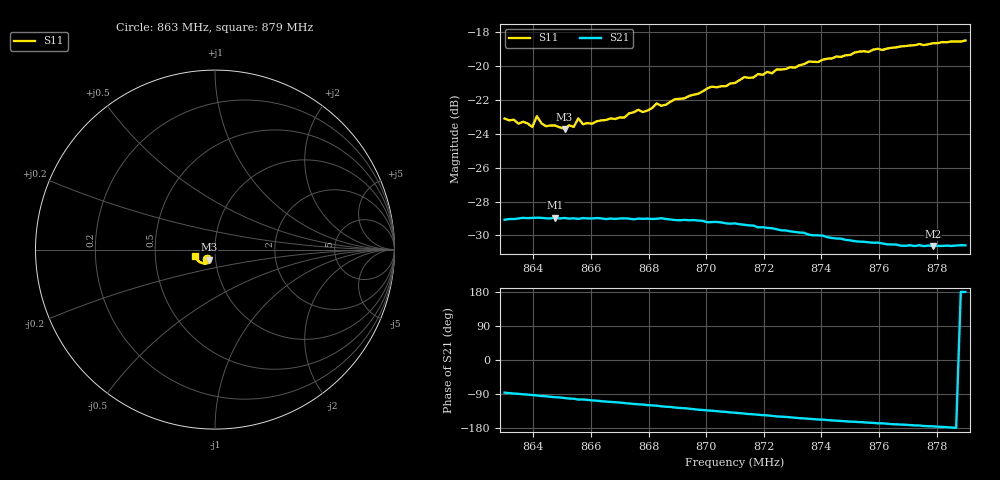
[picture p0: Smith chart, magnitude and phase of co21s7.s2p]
# HZ S RI R 50
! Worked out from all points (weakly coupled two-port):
!   101 points, 863 MHz to 879 MHz, reference 50 ohm
!   highest |S21| = -28.95 dB at 864.76 MHz (marker M1); lowest = -30.6 dB at 877.88 MHz (marker M2)
!   lowest |S11| = -23.7 dB at 865.08 MHz (marker M3), VSWR 1.14, Z = 46.4 - j5.18 ohm
!   |S11| at or under -10 dB: start of sweep to end of sweep
!   S12 and S22 are empty: the file has one direction only
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8.63e8  -0.0438 -0.0546  0.00241 -0.0351  0 0  0 0
8.6396e8  -0.0381 -0.054  -0.00155 -0.0356  0 0  0 0
8.6412e8  -0.0453 -0.0548  -0.00223 -0.0356  0 0  0 0
8.6444e8  -0.0371 -0.0551  -0.00355 -0.0353  0 0  0 0
8.6476e8  -0.0379 -0.0549  -0.00516 -0.0353  0 0  0 0
8.6508e8  -0.0342 -0.0555  -0.0064 -0.035  0 0  0 0
8.6524e8  -0.0357 -0.0565  -0.00721 -0.0347  0 0  0 0
8.654e8  -0.0336 -0.057  -0.0075 -0.0347  0 0  0 0
8.6556e8  -0.0393 -0.058  -0.00876 -0.0343  0 0  0 0
8.6572e8  -0.0343 -0.058  -0.00878 -0.0345  0 0  0 0
8.6716e8  -0.0336 -0.062  -0.0143 -0.0325  0 0  0 0
8.6764e8  -0.0351 -0.0654  -0.016 -0.0316  0 0  0 0
8.6796e8  -0.0348 -0.0651  -0.0172 -0.031  0 0  0 0
8.6828e8  -0.037 -0.0682  -0.018 -0.0305  0 0  0 0
8.6844e8  -0.0356 -0.0675  -0.0189 -0.0301  0 0  0 0
8.702e8  -0.0444 -0.0748  -0.024 -0.0249  0 0  0 0
8.71e8  -0.0484 -0.0749  -0.026 -0.0224  0 0  0 0
8.7132e8  -0.0516 -0.0772  -0.0266 -0.0212  0 0  0 0
8.7372e8  -0.0699 -0.0756  -0.0289 -0.0129  0 0  0 0
8.7644e8  -0.0951 -0.0614  -0.0292 -0.0055  0 0  0 0
8.7788e8  -0.1063 -0.0484  -0.0293 -0.00255  0 0  0 0
8.79e8  -0.1131 -0.0372  -0.0296 0.000215  0 0  0 0
